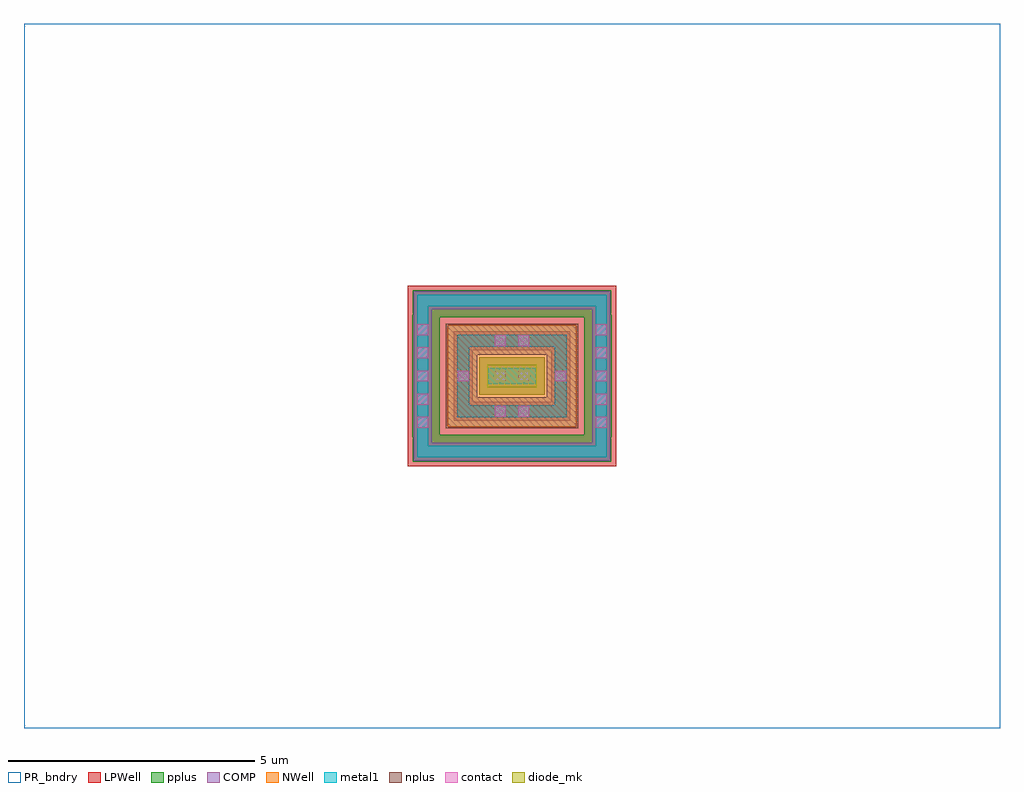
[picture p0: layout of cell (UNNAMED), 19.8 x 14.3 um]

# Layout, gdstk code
import gdstk
lib = gdstk.Library(unit=1e-6, precision=1e-09)
def R(c, l, rs):  # rectangles x0, y0, x1, y1
    for r in rs: c.add(gdstk.rectangle(r[:2], r[2:], *l))
def A(c, l, x, y, w, h, nx, ny, dx, dy):  # array of equal rectangles
    R(c, l, [(x+i*dx, y+j*dy, x+i*dx+w, y+j*dy+h) for i in range(nx) for j in range(ny)])
PR_bndry = (0, 0)
NWell = (21, 0)
COMP = (22, 0)
pplus = (31, 0)
nplus = (32, 0)
contact = (33, 0)
metal1 = (34, 0)
diode_mk = (115, 5)
LPWell = (204, 0)

c__unnamed_ = lib.new_cell('(UNNAMED)')
R(c__unnamed_, PR_bndry, [(-9.9,-7.15,9.9,7.15)])
R(c__unnamed_, NWell, [(-1.3,-1.025,1.3,1.025)])
R(c__unnamed_, COMP, [(-1.99,-1.715,1.99,-1.355), (-1.99,-1.355,-1.63,1.355), (1.63,-1.355,1.99,1.355), (-1.18,-0.905,1.18,-0.525), (-1.18,-0.525,-0.8,0.525), (0.8,-0.525,1.18,0.525), (-0.5,-0.225,0.5,0.225), (-1.18,0.525,1.18,0.905), (-1.99,1.355,1.99,1.715)])
R(c__unnamed_, pplus, [(-2.01,-1.735,2.01,-1.23), (-2.02,-1.23,2.02,-1.195), (-2.02,-1.195,-1.47,1.195), (1.47,-1.195,2.02,1.195), (-0.66,-0.385,0.66,0.385), (-2.02,1.195,2.02,1.23), (-2.01,1.23,2.01,1.735)])
R(c__unnamed_, nplus, [(-1.34,-1.065,1.34,-0.435), (-1.34,-0.435,-0.71,0.435), (0.71,-0.435,1.34,0.435), (-1.34,0.435,1.34,1.065)])
A(c__unnamed_, contact, -1.92, -1.05, 0.22, 0.22, 1, 5, 0, 0.47)
A(c__unnamed_, contact, 1.7, -1.05, 0.22, 0.22, 1, 5, 0, 0.47)
A(c__unnamed_, contact, -0.345, -0.825, 0.22, 0.22, 1, 3, 0, 0.715)
A(c__unnamed_, contact, 0.125, -0.825, 0.22, 0.22, 1, 3, 0, 0.715)
R(c__unnamed_, contact, [(-1.1,-0.11,-0.88,0.11), (0.88,-0.11,1.1,0.11)])
R(c__unnamed_, metal1, [(-1.925,-1.65,1.925,-1.42), (-1.925,-1.42,-1.695,1.42), (1.695,-1.42,1.925,1.42), (-1.115,-0.84,1.115,-0.59), (-1.115,-0.59,-0.865,0.59), (0.865,-0.59,1.115,0.59), (-0.49,-0.16,0.49,0.16), (-1.115,0.59,1.115,0.84), (-1.925,1.42,1.925,1.65)])
R(c__unnamed_, diode_mk, [(-0.5,-0.225,0.5,0.225)])
R(c__unnamed_, LPWell, [(-2.11,-1.835,2.11,-1.025), (-2.11,-1.025,-1.3,1.025), (1.3,-1.025,2.11,1.025), (-2.11,1.025,2.11,1.835)])

lib.write_gds('_UNNAMED_.gds')
